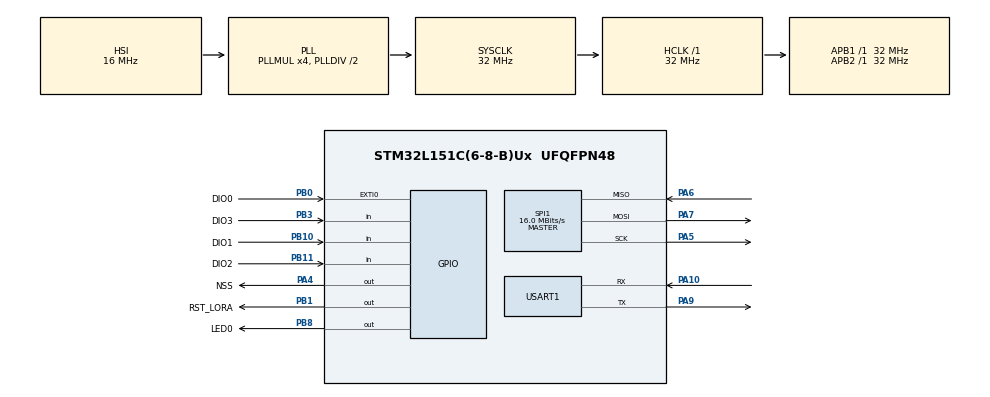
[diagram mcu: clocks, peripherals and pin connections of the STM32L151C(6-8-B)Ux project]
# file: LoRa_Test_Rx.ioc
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Dma.Request0=USART1_TX
Dma.Request1=SPI1_RX
Dma.Request2=SPI1_TX
Dma.SPI1_RX.1.Direction=DMA_PERIPH_TO_MEMORY
Dma.SPI1_RX.1.Instance=DMA1_Channel2
Dma.SPI1_RX.1.MemDataAlignment=DMA_MDATAALIGN_BYTE
Dma.SPI1_RX.1.MemInc=DMA_MINC_ENABLE
Dma.SPI1_RX.1.Mode=DMA_NORMAL
Dma.SPI1_RX.1.PeriphDataAlignment=DMA_PDATAALIGN_BYTE
Dma.SPI1_RX.1.PeriphInc=DMA_PINC_DISABLE
Dma.SPI1_RX.1.Priority=DMA_PRIORITY_HIGH
Dma.SPI1_TX.2.Direction=DMA_MEMORY_TO_PERIPH
Dma.SPI1_TX.2.Instance=DMA1_Channel3
Dma.SPI1_TX.2.MemDataAlignment=DMA_MDATAALIGN_BYTE
Dma.SPI1_TX.2.MemInc=DMA_MINC_ENABLE
Dma.SPI1_TX.2.Mode=DMA_NORMAL
Dma.SPI1_TX.2.PeriphDataAlignment=DMA_PDATAALIGN_BYTE
Dma.SPI1_TX.2.PeriphInc=DMA_PINC_DISABLE
Dma.SPI1_TX.2.Priority=DMA_PRIORITY_HIGH
Dma.USART1_TX.0.Direction=DMA_MEMORY_TO_PERIPH
Dma.USART1_TX.0.Instance=DMA1_Channel4
Dma.USART1_TX.0.MemDataAlignment=DMA_MDATAALIGN_BYTE
Dma.USART1_TX.0.MemInc=DMA_MINC_ENABLE
Dma.USART1_TX.0.Mode=DMA_NORMAL
Dma.USART1_TX.0.PeriphDataAlignment=DMA_PDATAALIGN_BYTE
Dma.USART1_TX.0.PeriphInc=DMA_PINC_DISABLE
Dma.USART1_TX.0.Priority=DMA_PRIORITY_LOW
IWDG.Prescaler=IWDG_PRESCALER_32
IWDG.Reload=3000
Mcu.Family=STM32L1
Mcu.Name=STM32L151C(6-8-B)Ux
Mcu.Package=UFQFPN48
NVIC.DMA1_Channel2_IRQn=true\:0\:0\:false\:false\:true\:false\:true
NVIC.DMA1_Channel3_IRQn=true\:0\:0\:false\:false\:true\:false\:true
NVIC.DMA1_Channel4_IRQn=true\:0\:0\:false\:false\:true\:false\:true
NVIC.EXTI0_IRQn=true\:0\:0\:false\:false\:true\:true\:true
NVIC.PriorityGroup=NVIC_PRIORITYGROUP_4
PA10.Mode=Asynchronous
PA10.Signal=USART1_RX
PA13.Mode=Serial_Wire
PA13.Signal=SYS_JTMS-SWDIO
PA14.Mode=Serial_Wire
PA14.Signal=SYS_JTCK-SWCLK
PA4.GPIO_Label=NSS
PA4.Signal=GPIO_Output
PA5.Mode=Full_Duplex_Master
PA5.Signal=SPI1_SCK
PA6.Mode=Full_Duplex_Master
PA6.Signal=SPI1_MISO
PA7.Mode=Full_Duplex_Master
PA7.Signal=SPI1_MOSI
PA9.Mode=Asynchronous
PA9.Signal=USART1_TX
PB0.GPIO_Label=DIO0
PB0.Signal=GPXTI0
PB1.GPIO_Label=RST_LORA
PB1.Signal=GPIO_Output
PB10.GPIO_Label=DIO1
PB10.Signal=GPIO_Input
PB11.GPIO_Label=DIO2
PB11.Signal=GPIO_Input
PB3.GPIO_Label=DIO3
PB3.Signal=GPIO_Input
PB8.GPIO_Label=LED0
PB8.Signal=GPIO_Output
PC14-OSC32_IN.Mode=LSE-External-Oscillator
PC14-OSC32_IN.Signal=RCC_OSC32_IN
PC15-OSC32_OUT.Mode=LSE-External-Oscillator
PC15-OSC32_OUT.Signal=RCC_OSC32_OUT
ProjectManager.HeapSize=0x200
ProjectManager.StackSize=0x400
ProjectManager.TargetToolchain=STM32CubeIDE
RCC.48MHZClocksFreq_Value=32000000
RCC.AHBFreq_Value=32000000
RCC.APB1Freq_Value=32000000
RCC.APB1TimFreq_Value=32000000
RCC.APB2Freq_Value=32000000
RCC.APB2TimFreq_Value=32000000
RCC.HCLKFreq_Value=32000000
RCC.HSE_VALUE=24000000
RCC.HSI_VALUE=16000000
RCC.MSI_VALUE=2097000
RCC.PLLMUL=RCC_PLL_MUL4
RCC.SYSCLKFreq_VALUE=32000000
RCC.SYSCLKSource=RCC_SYSCLKSOURCE_PLLCLK
RCC.VCOOutputFreq_Value=64000000
SPI1.CalculateBaudRate=16.0 MBits/s
SPI1.Direction=SPI_DIRECTION_2LINES
SPI1.Mode=SPI_MODE_MASTER
SPI1.VirtualType=VM_MASTER
USART1.VirtualMode=VM_ASYNC
VP_IWDG_VS_IWDG.Mode=IWDG_Activate
board=custom

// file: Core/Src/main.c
/* USER CODE BEGIN Header */
/**
  ******************************************************************************
  * @file           : main.c
  * @brief          : Main program body
  ******************************************************************************
  * @attention
  *
  * <h2><center>&copy; Copyright (c) 2020 STMicroelectronics.
  * All rights reserved.</center></h2>
  *
  * This software component is licensed by ST under BSD 3-Clause license,
  * the "License"; You may not use this file except in compliance with the
  * License. You may obtain a copy of the License at:
  *                        opensource.org/licenses/BSD-3-Clause
  *
  ******************************************************************************
  */
/* USER CODE END Header */

#include "main.h"
#include "dma.h"
#include "iwdg.h"
#include "spi.h"
#include "usart.h"
#include "gpio.h"

/* USER CODE BEGIN Includes */
#include <stdio.h>
#include <string.h>
#include <stdlib.h>
#include "SX1278.h"
/* USER CODE END Includes */

/* USER CODE BEGIN PM */
#ifdef __GNUC__
	#define PUTCHAR_PROTOTYPE int __io_putchar(int ch)
#else
	#define PUTCHAR_PROTOTYPE int fputc(int ch, FILE *f)
#endif
PUTCHAR_PROTOTYPE
{
	HAL_UART_Transmit(&huart1, (uint8_t *)&ch, 1, 0xFFFF);
	//HAL_UART_Transmit_DMA(&huart1, (uint8_t *)&ch, 1);
	return 0;
}
/* USER CODE END PM */

/* USER CODE BEGIN PV */
extern SX1278_hw_t SX1278_hw;
extern SX1278_t SX1278;

unsigned int ticks = 0;
extern uint8_t loraRxFlag;
uint8_t error;
uint8_t bufferLength;
uint8_t RSSI;
char buffer[150];
/* USER CODE END PV */

void SystemClock_Config(void);

int main(void)
{
  /* USER CODE BEGIN 1 */
  //char nextPacketTimeMessage[] = "Next packet is in ";
  char nextPacketTimeChar[5];
  memset(nextPacketTimeChar, '\0', 5);
  //uint8_t messageType = 0; //0 for data, 1 for time
  /* USER CODE END 1 */

  /* MCU Configuration--------------------------------------------------------*/

  /* Reset of all peripherals, Initializes the Flash interface and the Systick. */
  HAL_Init();

  /* Configure the system clock */
  SystemClock_Config();

  /* Initialize all configured peripherals */
  MX_GPIO_Init();
  MX_DMA_Init();
  MX_SPI1_Init();
  MX_USART1_UART_Init();
  MX_IWDG_Init();
  /* USER CODE BEGIN 2 */

  HAL_Delay(10);
  printf("\r\nInitialising SX1278...\r\n");
  SX1278_device_init();
  printf("SX1278 Init Complete!\r\n");

  error = SX1278_LoRaEntryRx(&SX1278, 16, 2000);
  if(error == 1)
	  printf("SX1278 set Rx mode success!\r\n\n");
  else
  {
	  printf("SX1278 set Rx failed!\r\n");
	  printf("Stopping...\r\n");
	  while(1)
		  HAL_Delay(100);
  }
  /* USER CODE END 2 */

  /* Infinite loop */
  /* USER CODE BEGIN WHILE */

  while (1)
  {

	if(loraRxFlag == 1)
	{
		loraRxFlag = 0;
		//read incoming message
		bufferLength = SX1278_LoRaRxPacket(&SX1278);
		RSSI = SX1278_RSSI(&SX1278);
		SX1278_read(&SX1278, (uint8_t *) buffer, bufferLength);
		//check is the incoming message a time data?
		/*for(int i = 0; buffer[i] == nextPacketTimeMessage[i]; i++)
		{
			if(i == 17)
			{
				messageType = 1;
				for(int x = 0; buffer[x+18] != 'm'; x++)
					nextPacketTimeChar[x] = buffer[x+18];
				break;
			}
		}
		//Message is a time data
		if(messageType == 1)
		{
			printf("Next packet will be in %d(ms)\r\n", atoi(nextPacketTimeChar));
			messageType = 0;
		}
		//Message is not a time data
		else if(messageType == 0)*/
		{
			//printf("\r\nLoRa Rx interrupt!\r\n");
			printf("RSSI:%d,%d\r\n", RSSI, SX1278_RSSI_LoRa(&SX1278));
			printf("%s\r\n", buffer);
		}
	}

    /* USER CODE END WHILE */

    /* USER CODE BEGIN 3 */
	HAL_IWDG_Refresh(&hiwdg);
	HAL_Delay(10);
  }
  /* USER CODE END 3 */
}

void SystemClock_Config(void)
{
  RCC_OscInitTypeDef RCC_OscInitStruct = {0};
  RCC_ClkInitTypeDef RCC_ClkInitStruct = {0};

  /** Configure the main internal regulator output voltage
  */
  __HAL_PWR_VOLTAGESCALING_CONFIG(PWR_REGULATOR_VOLTAGE_SCALE1);
  /** Initializes the CPU, AHB and APB busses clocks
  */
  RCC_OscInitStruct.OscillatorType = RCC_OSCILLATORTYPE_HSI|RCC_OSCILLATORTYPE_LSI;
  RCC_OscInitStruct.HSIState = RCC_HSI_ON;
  RCC_OscInitStruct.HSICalibrationValue = RCC_HSICALIBRATION_DEFAULT;
  RCC_OscInitStruct.LSIState = RCC_LSI_ON;
  RCC_OscInitStruct.PLL.PLLState = RCC_PLL_ON;
  RCC_OscInitStruct.PLL.PLLSource = RCC_PLLSOURCE_HSI;
  RCC_OscInitStruct.PLL.PLLMUL = RCC_PLL_MUL4;
  RCC_OscInitStruct.PLL.PLLDIV = RCC_PLL_DIV2;
  if (HAL_RCC_OscConfig(&RCC_OscInitStruct) != HAL_OK)
  {
    Error_Handler();
  }
  /** Initializes the CPU, AHB and APB busses clocks
  */
  RCC_ClkInitStruct.ClockType = RCC_CLOCKTYPE_HCLK|RCC_CLOCKTYPE_SYSCLK
                              |RCC_CLOCKTYPE_PCLK1|RCC_CLOCKTYPE_PCLK2;
  RCC_ClkInitStruct.SYSCLKSource = RCC_SYSCLKSOURCE_PLLCLK;
  RCC_ClkInitStruct.AHBCLKDivider = RCC_SYSCLK_DIV1;
  RCC_ClkInitStruct.APB1CLKDivider = RCC_HCLK_DIV1;
  RCC_ClkInitStruct.APB2CLKDivider = RCC_HCLK_DIV1;

  if (HAL_RCC_ClockConfig(&RCC_ClkInitStruct, FLASH_LATENCY_1) != HAL_OK)
  {
    Error_Handler();
  }
}

void Error_Handler(void)
{
}

/************************ (C) COPYRIGHT STMicroelectronics *****END OF FILE****/
